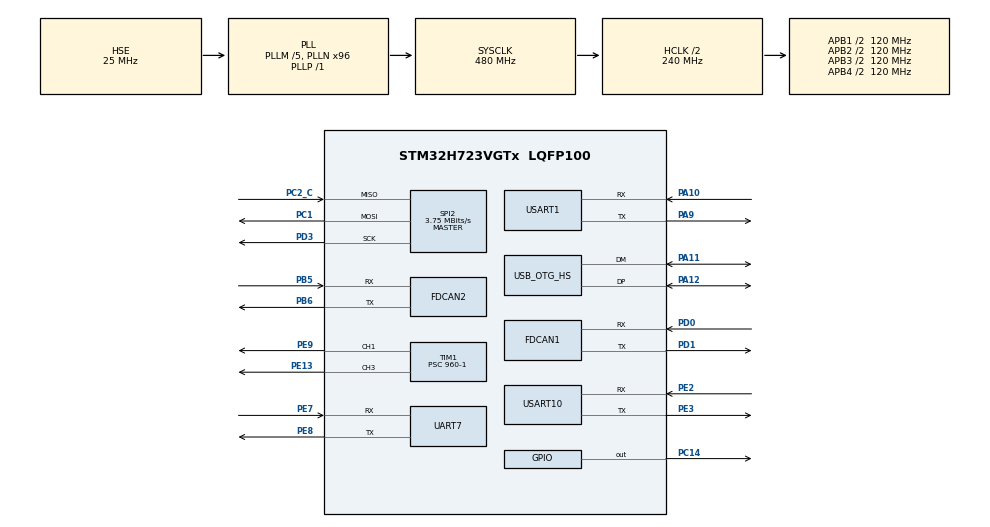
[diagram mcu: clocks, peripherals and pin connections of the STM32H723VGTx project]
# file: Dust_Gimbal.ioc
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FDCAN1.CalculateBaudRateNominal=1000000
FDCAN1.CalculateTimeBitNominal=1000
FDCAN1.CalculateTimeQuantumNominal=25.0
FDCAN1.DataPrescaler=3
FDCAN1.DataSyncJumpWidth=10
FDCAN1.DataTimeSeg1=29
FDCAN1.DataTimeSeg2=10
FDCAN1.NominalPrescaler=3
FDCAN1.NominalSyncJumpWidth=10
FDCAN1.NominalTimeSeg1=29
FDCAN1.NominalTimeSeg2=10
FDCAN1.ProtocolException=ENABLE
FDCAN1.RxFifo0ElmtsNbr=4
FDCAN1.StdFiltersNbr=1
FDCAN1.TxFifoQueueElmtsNbr=4
FDCAN2.CalculateBaudRateNominal=1000000
FDCAN2.CalculateTimeBitNominal=1000
FDCAN2.CalculateTimeQuantumNominal=25.0
FDCAN2.DataPrescaler=3
FDCAN2.DataSyncJumpWidth=10
FDCAN2.DataTimeSeg1=29
FDCAN2.DataTimeSeg2=10
FDCAN2.MessageRAMOffset=1280
FDCAN2.NominalPrescaler=3
FDCAN2.NominalSyncJumpWidth=10
FDCAN2.NominalTimeSeg1=29
FDCAN2.NominalTimeSeg2=10
FDCAN2.ProtocolException=ENABLE
FDCAN2.RxFifo0ElmtsNbr=4
FDCAN2.StdFiltersNbr=1
FDCAN2.TxFifoQueueElmtsNbr=4
FREERTOS.Tasks01=defaultTask,24,128,StartDefaultTask,Default,NULL,Dynamic,NULL,NULL
IWDG1.Prescaler=IWDG_PRESCALER_32
IWDG1.Window=100
Mcu.Family=STM32H7
Mcu.Name=STM32H723VGTx
Mcu.Package=LQFP100
NVIC.OTG_HS_IRQn=true\:5\:0\:false\:false\:true\:true\:true\:true\:true
NVIC.PriorityGroup=NVIC_PRIORITYGROUP_4
NVIC.TIM23_IRQn=true\:15\:0\:false\:false\:true\:false\:false\:true\:true
NVIC.TimeBase=TIM23_IRQn
NVIC.TimeBaseIP=TIM23
PA10.Mode=Asynchronous
PA10.Signal=USART1_RX
PA11.Mode=Device_Only_FS
PA11.Signal=USB_OTG_HS_DM
PA12.Mode=Device_Only_FS
PA12.Signal=USB_OTG_HS_DP
PA13(JTMS/SWDIO).Mode=Serial_Wire
PA13(JTMS/SWDIO).Signal=DEBUG_JTMS-SWDIO
PA14(JTCK/SWCLK).Mode=Serial_Wire
PA14(JTCK/SWCLK).Signal=DEBUG_JTCK-SWCLK
PA9.Mode=Asynchronous
PA9.Signal=USART1_TX
PB5.Mode=FDCAN_Activate
PB5.Signal=FDCAN2_RX
PB6.Mode=FDCAN_Activate
PB6.Signal=FDCAN2_TX
PC1.Mode=Full_Duplex_Master
PC1.Signal=SPI2_MOSI
PC14-OSC32_IN.GPIO_ModeDefaultOutputPP=GPIO_MODE_OUTPUT_PP
PC14-OSC32_IN.GPIO_PuPd=GPIO_PULLUP
PC14-OSC32_IN.PinState=GPIO_PIN_SET
PC14-OSC32_IN.Signal=GPIO_Output
PC2_C.Mode=Full_Duplex_Master
PC2_C.Signal=SPI2_MISO
PD0.Mode=FDCAN_Activate
PD0.Signal=FDCAN1_RX
PD1.Mode=FDCAN_Activate
PD1.Signal=FDCAN1_TX
PD3.Mode=Full_Duplex_Master
PD3.Signal=SPI2_SCK
PE13.Signal=S_TIM1_CH3
PE2.Mode=Asynchronous
PE2.Signal=USART10_RX
PE3.Mode=Asynchronous
PE3.Signal=USART10_TX
PE7.Mode=Asynchronous
PE7.Signal=UART7_RX
PE8.Mode=Asynchronous
PE8.Signal=UART7_TX
PE9.Signal=S_TIM1_CH1
PH0-OSC_IN.Mode=HSE-External-Oscillator
PH0-OSC_IN.Signal=RCC_OSC_IN
PH1-OSC_OUT.Mode=HSE-External-Oscillator
PH1-OSC_OUT.Signal=RCC_OSC_OUT
ProjectManager.HeapSize=0x200
ProjectManager.StackSize=0x400
ProjectManager.TargetToolchain=CMake
RCC.ADCFreq_Value=50390625
RCC.APB1Freq_Value=120000000
RCC.APB2Freq_Value=120000000
RCC.APB3Freq_Value=120000000
RCC.APB4Freq_Value=120000000
RCC.CortexFreq_Value=480000000
RCC.D1PPRE=RCC_APB3_DIV2
RCC.D2PPRE1=RCC_APB1_DIV2
RCC.D2PPRE2=RCC_APB2_DIV2
RCC.D3PPRE=RCC_APB4_DIV2
RCC.DIVM1=5
RCC.DIVN1=96
RCC.DIVP1=1
RCC.DIVQ1=4
RCC.HCLKFreq_Value=240000000
RCC.HPRE=RCC_HCLK_DIV2
RCC.PLL2FRACN=0
RCC.PLL3FRACN=0
RCC.PLLFRACN=0
RCC.SYSCLKFreq_VALUE=480000000
RCC.SYSCLKSource=RCC_SYSCLKSOURCE_PLLCLK
RCC.USBFreq_Value=120000000
SH.S_TIM1_CH1.0=TIM1_CH1,PWM Generation1 CH1
SH.S_TIM1_CH3.0=TIM1_CH3,PWM Generation3 CH3
SPI2.BaudRatePrescaler=SPI_BAUDRATEPRESCALER_32
SPI2.CLKPhase=SPI_PHASE_2EDGE
SPI2.CLKPolarity=SPI_POLARITY_HIGH
SPI2.CalculateBaudRate=3.75 MBits/s
SPI2.DataSize=SPI_DATASIZE_8BIT
SPI2.Direction=SPI_DIRECTION_2LINES
SPI2.Mode=SPI_MODE_MASTER
SPI2.VirtualType=VM_MASTER
STMicroelectronics.X-CUBE-ALGOBUILD.1.4.0.LibraryCcDSPOoLibraryJjDSPOoLibrary=true
TIM1.Channel-PWM\ Generation1\ CH1=TIM_CHANNEL_1
TIM1.Channel-PWM\ Generation3\ CH3=TIM_CHANNEL_3
TIM1.Prescaler=960-1
USART1.VirtualMode-Asynchronous=VM_ASYNC
USART10.VirtualMode=VM_ASYNC
USB_DEVICE.CLASS_NAME_HS=CDC
USB_DEVICE.VirtualMode=Cdc
USB_DEVICE.VirtualModeHS=Cdc_HS
USB_OTG_HS.VirtualMode-Device_Only_FS=Device_Only_FS
VP_FREERTOS_VS_CMSIS_V2.Mode=CMSIS_V2
VP_IWDG1_VS_IWDG.Mode=IWDG_Activate
VP_MEMORYMAP_VS_MEMORYMAP.Mode=CurAppReg
VP_STMicroelectronics.X-CUBE-ALGOBUILD_VS_DSPOoLibraryJjLibrary_1.4.0_1.4.0.Mode=DSPOoLibraryJjLibrary
VP_SYS_VS_tim23.Mode=TIM23
VP_USB_DEVICE_VS_USB_DEVICE_CDC_HS.Mode=CDC_HS
board=custom

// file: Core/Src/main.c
/* USER CODE BEGIN Header */
/**
  ******************************************************************************
  * @file           : main.c
  * @brief          : Main program body
  ******************************************************************************
  * @attention
  *
  * Copyright (c) 2025 STMicroelectronics.
  * All rights reserved.
  *
  * This software is licensed under terms that can be found in the LICENSE file
  * in the root directory of this software component.
  * If no LICENSE file comes with this software, it is provided AS-IS.
  *
  ******************************************************************************
  */
/* USER CODE END Header */
#include "main.h"
#include "cmsis_os.h"
#include "fdcan.h"
#include "iwdg.h"
#include "memorymap.h"
#include "spi.h"
#include "tim.h"
#include "usart.h"
#include "usb_device.h"
#include "gpio.h"

/* USER CODE BEGIN Includes */
#include "robot.h"
/* USER CODE END Includes */

void SystemClock_Config(void);
void MX_FREERTOS_Init(void);

int main(void)
{

  /* MCU Configuration--------------------------------------------------------*/

  /* Reset of all peripherals, Initializes the Flash interface and the Systick. */
  HAL_Init();

  /* Configure the system clock */
  SystemClock_Config();

  /* Initialize all configured peripherals */
  MX_GPIO_Init();
  MX_FDCAN1_Init();
  MX_FDCAN2_Init();
  MX_TIM1_Init();
  MX_UART7_Init();
  MX_USART1_UART_Init();
  MX_USART10_UART_Init();
  MX_SPI2_Init();
  MX_IWDG1_Init();
  /* USER CODE BEGIN 2 */
  RobotInit();
  /* USER CODE END 2 */

  /* Init scheduler */
  osKernelInitialize();

  /* Call init function for freertos objects (in cmsis_os2.c) */
  MX_FREERTOS_Init();

  /* Start scheduler */
  osKernelStart();

  /* We should never get here as control is now taken by the scheduler */

  /* Infinite loop */
  while (1)
  {

  }
}

void SystemClock_Config(void)
{
  RCC_OscInitTypeDef RCC_OscInitStruct = {0};
  RCC_ClkInitTypeDef RCC_ClkInitStruct = {0};

  /** Supply configuration update enable
  */
  HAL_PWREx_ConfigSupply(PWR_LDO_SUPPLY);

  /** Configure the main internal regulator output voltage
  */
  __HAL_PWR_VOLTAGESCALING_CONFIG(PWR_REGULATOR_VOLTAGE_SCALE0);

  while(!__HAL_PWR_GET_FLAG(PWR_FLAG_VOSRDY)) {}

  /** Initializes the RCC Oscillators according to the specified parameters
  * in the RCC_OscInitTypeDef structure.
  */
  RCC_OscInitStruct.OscillatorType = RCC_OSCILLATORTYPE_LSI|RCC_OSCILLATORTYPE_HSE;
  RCC_OscInitStruct.HSEState = RCC_HSE_ON;
  RCC_OscInitStruct.LSIState = RCC_LSI_ON;
  RCC_OscInitStruct.PLL.PLLState = RCC_PLL_ON;
  RCC_OscInitStruct.PLL.PLLSource = RCC_PLLSOURCE_HSE;
  RCC_OscInitStruct.PLL.PLLM = 5;
  RCC_OscInitStruct.PLL.PLLN = 96;
  RCC_OscInitStruct.PLL.PLLP = 1;
  RCC_OscInitStruct.PLL.PLLQ = 4;
  RCC_OscInitStruct.PLL.PLLR = 2;
  RCC_OscInitStruct.PLL.PLLRGE = RCC_PLL1VCIRANGE_2;
  RCC_OscInitStruct.PLL.PLLVCOSEL = RCC_PLL1VCOWIDE;
  RCC_OscInitStruct.PLL.PLLFRACN = 0;
  if (HAL_RCC_OscConfig(&RCC_OscInitStruct) != HAL_OK)
  {
    Error_Handler();
  }

  /** Initializes the CPU, AHB and APB buses clocks
  */
  RCC_ClkInitStruct.ClockType = RCC_CLOCKTYPE_HCLK|RCC_CLOCKTYPE_SYSCLK
                              |RCC_CLOCKTYPE_PCLK1|RCC_CLOCKTYPE_PCLK2
                              |RCC_CLOCKTYPE_D3PCLK1|RCC_CLOCKTYPE_D1PCLK1;
  RCC_ClkInitStruct.SYSCLKSource = RCC_SYSCLKSOURCE_PLLCLK;
  RCC_ClkInitStruct.SYSCLKDivider = RCC_SYSCLK_DIV1;
  RCC_ClkInitStruct.AHBCLKDivider = RCC_HCLK_DIV2;
  RCC_ClkInitStruct.APB3CLKDivider = RCC_APB3_DIV2;
  RCC_ClkInitStruct.APB1CLKDivider = RCC_APB1_DIV2;
  RCC_ClkInitStruct.APB2CLKDivider = RCC_APB2_DIV2;
  RCC_ClkInitStruct.APB4CLKDivider = RCC_APB4_DIV2;

  if (HAL_RCC_ClockConfig(&RCC_ClkInitStruct, FLASH_LATENCY_3) != HAL_OK)
  {
    Error_Handler();
  }
}

void HAL_TIM_PeriodElapsedCallback(TIM_HandleTypeDef *htim)
{
  if (htim->Instance == TIM23)
  {
    HAL_IncTick();
  }
}

void Error_Handler(void)
{
  __disable_irq();
  while (1)
  {
  }
}

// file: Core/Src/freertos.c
/* USER CODE BEGIN Header */
/**
  ******************************************************************************
  * File Name          : freertos.c
  * Description        : Code for freertos applications
  ******************************************************************************
  * @attention
  *
  * Copyright (c) 2025 STMicroelectronics.
  * All rights reserved.
  *
  * This software is licensed under terms that can be found in the LICENSE file
  * in the root directory of this software component.
  * If no LICENSE file comes with this software, it is provided AS-IS.
  *
  ******************************************************************************
  */
/* USER CODE END Header */

#include "FreeRTOS.h"
#include "task.h"
#include "main.h"
#include "cmsis_os.h"

/* USER CODE BEGIN Includes */
#include "cmsis_os2.h"
/* USER CODE END Includes */

/* USER CODE BEGIN Variables */
/* Definitions for Daemon */
osThreadId_t DaemonHandle;
const osThreadAttr_t Daemon_attributes = {
  .name = "Daemon",
  .stack_size = 128 * 4,
  .priority = (osPriority_t) osPriorityBelowNormal1,
};
/* Definitions for Test */
osThreadId_t TestHandle;
const osThreadAttr_t Test_attributes = {
  .name = "Test",
  .stack_size = 1024 * 4,
  .priority = (osPriority_t) osPriorityAboveNormal,
};
/* Definitions for gimbal */
osThreadId_t gimbalHandle;
const osThreadAttr_t gimbal_attributes = {
  .name = "gimbal",
  .stack_size = 512 * 4,
  .priority = (osPriority_t) osPriorityNormal,
};
/* Definitions for cmd */
osThreadId_t cmdHandle;
const osThreadAttr_t cmd_attributes = {
  .name = "cmd",
  .stack_size = 2048 * 4,
  .priority = (osPriority_t) osPriorityAboveNormal,
};
/* Definitions for motor */
osThreadId_t motorHandle;
const osThreadAttr_t motor_attributes = {
  .name = "motor",
  .stack_size = 1024 * 4,
  .priority = (osPriority_t) osPriorityBelowNormal7,
};

/* USER CODE END Variables */
/* Definitions for defaultTask */
osThreadId_t defaultTaskHandle;
const osThreadAttr_t defaultTask_attributes = {
  .name = "defaultTask",
  .stack_size = 128 * 4,
  .priority = (osPriority_t) osPriorityNormal,
};

/* USER CODE BEGIN FunctionPrototypes */
void _DaemonTask(void *argument);
void TestTask(void *argument);
void _gimbalTASK(void *argument);
void _cmdTASK(void *argument);
void _motorTASK(void *argument);

/* USER CODE END FunctionPrototypes */

void StartDefaultTask(void *argument);

extern void MX_USB_DEVICE_Init(void);
void MX_FREERTOS_Init(void); /* (MISRA C 2004 rule 8.1) */

void MX_FREERTOS_Init(void) {

  /* Create the thread(s) */
  /* creation of defaultTask */
  defaultTaskHandle = osThreadNew(StartDefaultTask, NULL, &defaultTask_attributes);

  /* USER CODE BEGIN RTOS_THREADS */
  /* add threads, ... */
    /* creation of Daemon */
  DaemonHandle = osThreadNew(_DaemonTask, NULL, &Daemon_attributes);

  /* creation of Test */
  TestHandle = osThreadNew(TestTask, NULL, &Test_attributes);

  /* creation of gimbal */
  gimbalHandle = osThreadNew(_gimbalTASK, NULL, &gimbal_attributes);

  /* creation of cmd */
  cmdHandle = osThreadNew(_cmdTASK, NULL, &cmd_attributes);

  /* creation of motor */
  motorHandle = osThreadNew(_motorTASK, NULL, &motor_attributes);

  /* USER CODE END RTOS_THREADS */

}

void StartDefaultTask(void *argument)
{
  /* init code for USB_DEVICE */
  MX_USB_DEVICE_Init();
  /* USER CODE BEGIN StartDefaultTask */
  UNUSED(argument);
  /* Infinite loop */
  for(;;)
  {
    osDelay(1);
  }
  /* USER CODE END StartDefaultTask */
}

/* USER CODE BEGIN Application */
/**
* @brief Function implementing the Daemon thread.
* @param argument: Not used
* @retval None
*/
__weak void _DaemonTask(void *argument)
{
  /* USER CODE BEGIN _DaemonTask */
  /* Infinite loop */
  for(;;)
  {
    osDelay(1);
  }
  /* USER CODE END _DaemonTask */
}

/**
* @brief Function implementing the Test thread.
* @param argument: Not used
* @retval None
*/
__weak void TestTask(void *argument)
{
  /* USER CODE BEGIN TestTask */
  /* Infinite loop */
  for(;;)
  {
    osDelay(1);
  }
  /* USER CODE END TestTask */
}

/**
* @brief Function implementing the gimbal thread.
* @param argument: Not used
* @retval None
*/
__weak void _gimbalTASK(void *argument)
{
  /* USER CODE BEGIN _gimbalTASK */
  /* Infinite loop */
  for(;;)
  {
    osDelay(1);
  }
  /* USER CODE END _gimbalTASK */
}
/**
* @brief Function implementing the cmd thread.
* @param argument: Not used
* @retval None
*/
__weak void _cmdTASK(void *argument)
{
  /* USER CODE BEGIN _cmdTASK */
  /* Infinite loop */
  for(;;)
  {
    osDelay(1);
  }
  /* USER CODE END _cmdTASK */
}

/**
* @brief Function implementing the motor thread.
* @param argument: Not used
* @retval None
*/
__weak void _motorTASK(void *argument)
{
  /* USER CODE BEGIN _motorTASK */
  /* Infinite loop */
  for(;;)
  {
    osDelay(1);
  }
  /* USER CODE END _motorTASK */
}

/* USER CODE END Application */
